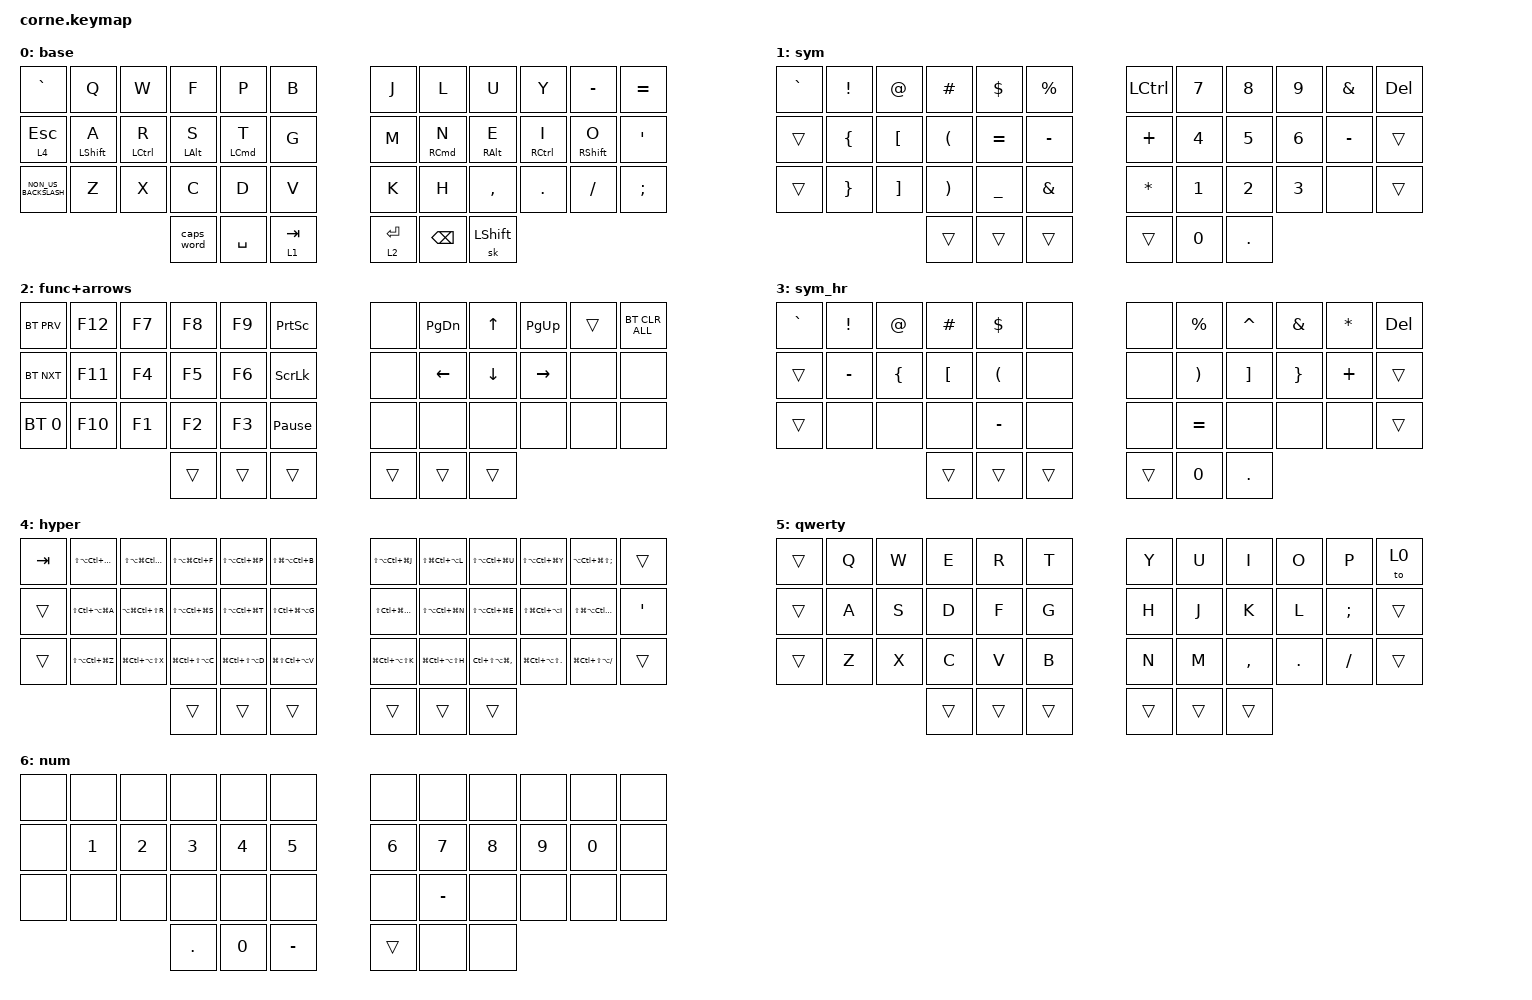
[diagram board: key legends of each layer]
/*
 * Copyright (c) 2020 The ZMK Contributors
 *
 * SPDX-License-Identifier: MIT
 */

#include <behaviors.dtsi>
#include <dt-bindings/zmk/bt.h>
#include <dt-bindings/zmk/keys.h>
#include <dt-bindings/zmk/outputs.h>

&sk {
    release-after-ms = <2000>;
    quick-release;
};

&mt {
    tapping-term-ms = <280>;
    quick-tap-ms = <175>;
    require-prior-idle-ms = <150>;
    flavor = "balanced";
    hold-while-undecided;
    hold-trigger-on-release;
};

&lt {
    tapping-term-ms = <280>;
    quick-tap-ms = <175>;
    require-prior-idle-ms = <150>;
    flavor = "balanced";
    hold-while-undecided;
    hold-trigger-on-release;
};

/ {
    combos {
        compatible = "zmk,combos";

        left_brace {
            bindings = <&kp LEFT_BRACE>;
            key-positions = <2 4>;
        };

        right_brace {
            bindings = <&kp RIGHT_BRACE>;
            key-positions = <9 7>;
        };

        left_square_bracket {
            bindings = <&kp LEFT_BRACKET>;
            key-positions = <2 3>;
        };

        right_square_bracket {
            bindings = <&kp RIGHT_BRACKET>;
            key-positions = <8 9>;
        };

        left_paren {
            bindings = <&kp LEFT_PARENTHESIS>;
            key-positions = <4 3>;
        };

        right_paren {
            bindings = <&kp RIGHT_PARENTHESIS>;
            key-positions = <7 8>;
        };

        underscore {
            bindings = <&kp UNDERSCORE>;
            key-positions = <16 28>;
        };

        equals {
            bindings = <&kp EQUAL>;
            key-positions = <19 31>;
        };

        plus {
            bindings = <&kp PLUS>;
            key-positions = <19 18>;
        };

        dash {
            bindings = <&kp MINUS>;
            key-positions = <16 17>;
        };

        copy {
            bindings = <&kp LG(C)>;
            key-positions = <27 28>;
        };

        paste {
            bindings = <&kp LG(V)>;
            key-positions = <29 28>;
        };

        less_than {
            bindings = <&kp LESS_THAN>;
            key-positions = <32 33>;
        };

        greater_than {
            bindings = <&kp GREATER_THAN>;
            key-positions = <33 34>;
        };

        exclaimation {
            bindings = <&kp EXCL>;
            key-positions = <1 13>;
        };

        at {
            bindings = <&kp AT_SIGN>;
            key-positions = <14 2>;
        };

        hash {
            bindings = <&kp HASH>;
            key-positions = <15 3>;
        };

        dollar {
            bindings = <&kp DOLLAR>;
            key-positions = <16 4>;
        };

        percent {
            bindings = <&kp PERCENT>;
            key-positions = <7 19>;
        };

        caret {
            bindings = <&kp CARET>;
            key-positions = <8 20>;
        };

        ampersand {
            bindings = <&kp AMPERSAND>;
            key-positions = <9 21>;
        };

        asterisk {
            bindings = <&kp ASTERISK>;
            key-positions = <10 22>;
        };
    };

    behaviors {
        to_reset: to_reset {
            compatible = "zmk,behavior-tap-dance";
            label = "TAPDANCE_TO_RESET";
            #binding-cells = <0>;
            bindings = <&none>, <&to_reset>;
        };

        to_boot: to_bootloader {
            compatible = "zmk,behavior-tap-dance";
            label = "TAPDANCE_TO_BOOT";
            #binding-cells = <0>;
            bindings = <&none>, <&to_boot>;
        };

        autoshft: autoshift {
            compatible = "zmk,behavior-hold-tap";
            label = "AUTOSHIFT_HOLD_TAP";
            bindings = <&shift>, <&kp>;

            #binding-cells = <2>;
            tapping-term-ms = <190>;
        };

        hrm_l: homerow_mods_left {
            compatible = "zmk,behavior-hold-tap";
            label = "HOMEROW_MODS_LEFT_HAND";
            bindings = <&kp>, <&kp>;

            #binding-cells = <2>;
            tapping-term-ms = <300>;
            hold-trigger-key-positions = <6 7 8 9 10 11 18 19 20 21 22 23 30 31 32 33 34 35 39 40 41>;
            flavor = "balanced";
            hold-trigger-on-release;
            quick-tap-ms = <200>;
            require-prior-idle-ms = <150>;
        };

        hrm_r: homerow_mods_right {
            compatible = "zmk,behavior-hold-tap";
            label = "HOMEROW_MODS_RIGHT_HAND";
            bindings = <&kp>, <&kp>;

            #binding-cells = <2>;
            tapping-term-ms = <300>;
            hold-trigger-key-positions = <0 1 2 3 4 5 12 13 14 15 16 17 24 25 26 27 28 29 36 37 38>;
            hold-trigger-on-release;
            flavor = "balanced";
            quick-tap-ms = <200>;
            require-prior-idle-ms = <150>;
        };

        capsword_caps: capsword_caps {
            compatible = "zmk,behavior-mod-morph";
            label = "CAPSWORD_CAPSLOCK";
            bindings = <&caps_word>, <&kp CAPS>;

            #binding-cells = <0>;
            mods = <(MOD_LSFT|MOD_RSFT)>;
        };

        out_tog_usb: output_toggle {
            compatible = "zmk,behavior-mod-morph";
            label = "OUTPUT-TOGGLE_OUTPUT-USB";
            bindings = <&out OUT_TOG>, <&out OUT_USB>;

            #binding-cells = <0>;
            mods = <(MOD_LSFT|MOD_RSFT)>;
        };

        btn: button_layer {
            compatible = "zmk,behavior-hold-tap";
            label = "BUTTON_LAYER";
            bindings = <&mo>, <&kp>;

            #binding-cells = <2>;
            tapping-term-ms = <200>;
            flavor = "tap-preferred";
        };

        to_base: tto_base {
            compatible = "zmk,behavior-tap-dance";
            label = "TAPDANCE_TO_BASE";
            #binding-cells = <0>;
            bindings = <&none>, <&to 0>;
        };

        to_extra: to_extra {
            compatible = "zmk,behavior-tap-dance";
            label = "TAPDANCE_TO_EXTRA";
            #binding-cells = <0>;
            bindings = <&none>, <&to 0>;
        };

        to_tap: to_tap {
            compatible = "zmk,behavior-tap-dance";
            label = "TAPDANCE_TO_TAP_LAYER";
            #binding-cells = <0>;
            bindings = <&none>, <&to 0>;
        };

        to_button: to_button {
            compatible = "zmk,behavior-tap-dance";
            label = "TAPDANCE_TO_BUTTON";
            #binding-cells = <0>;
            bindings = <&none>, <&to 0>;
        };

        to_nav: to_nav {
            compatible = "zmk,behavior-tap-dance";
            label = "TAPDANCE_TO_NAV";
            #binding-cells = <0>;
            bindings = <&none>, <&to 0>;
        };

        to_sym2: to_sym2 {
            compatible = "zmk,behavior-tap-dance";
            label = "TO_SYM2";
            #binding-cells = <0>;
            bindings = <&none>, <&to 1>;
        };

        to_media: to_media {
            compatible = "zmk,behavior-tap-dance";
            label = "TO_MEDIA";
            #binding-cells = <0>;
            bindings = <&none>, <&to 0>;
        };

        to_num: to_num {
            compatible = "zmk,behavior-tap-dance";
            label = "TO_NUM";
            #binding-cells = <0>;
            bindings = <&none>, <&to 5>;
        };

        to_sym: to_sym {
            compatible = "zmk,behavior-tap-dance";
            label = "TO_SYM";
            #binding-cells = <0>;
            bindings = <&none>, <&to 5>;
        };

        to_func: to_func {
            compatible = "zmk,behavior-tap-dance";
            label = "TO_FUNC";
            #binding-cells = <0>;
            bindings = <&none>, <&to 5>;
        };

        shift_hyper: shift_hyper {
            compatible = "zmk,behavior-mod-morph";
            label = "STICKYSHIFT_STICKYHYPER";
            bindings = <&sk LEFT_SHIFT>, <&sk LA(LS(LG(LCTRL)))>;

            #binding-cells = <0>;
            mods = <(MOD_LSFT|MOD_RSFT)>;
        };

        plus_equal: plus_equal {
            compatible = "zmk,behavior-mod-morph";
            label = "PLUS_EQUAL";
            bindings = <&kp PLUS>, <&kp EQUAL>;

            #binding-cells = <0>;
            mods = <(MOD_RSFT)>;
        };

        colon_semi: colon_semi {
            compatible = "zmk,behavior-mod-morph";
            label = "COLON_SEMI";
            bindings = <&kp COLON>, <&kp SEMI>;

            #binding-cells = <0>;
            mods = <(MOD_RSFT)>;
        };
    };

    macros {
        shift: with_lshift {
            compatible = "zmk,behavior-macro-one-param";
            #binding-cells = <1>;
            bindings =
                <&macro_press>,
                <&kp LEFT_SHIFT>,
                <&macro_tap>,
                <&macro_param_1to1 &kp MACRO_PLACEHOLDER>,
                <&macro_release>,
                <&kp LEFT_SHIFT>;

            label = "SHIFTKEY_PRESS_WITH_LEFT_SHIFT_MODIFIER";
        };
    };

    keymap {
        compatible = "zmk,keymap";

        base {
            // -----------------------------------------------------------------------------------------
            // |   `   |  Q  |  W  |  F  |  P  |  B  |   |  J  |  L   |  U  |  Y  |  ;  |  -   |
            // |cw_caps|  A  |  R  |  S  |  T  |  G  |   |  M  |  N   |  E  |  I  |  O  |  '   |
            // | skSHFT|  Z  |  X  |  C  |  D  |  V  |   |  K  |  H   |  ,  |  .  |  /  |  \   |
            //                    | ESC | SPC | TAB |   | ENT | BKSP | DEL |

            bindings = <
&kp GRAVE             &kp Q             &kp W               &kp F           &kp P               &kp B        &kp J        &kp L                &kp U            &kp Y                &kp MINUS          &kp EQUAL
&lt 4 ESCAPE          &mt LEFT_SHIFT A  &mt LEFT_CONTROL R  &mt LEFT_ALT S  &mt LEFT_COMMAND T  &kp G        &kp M        &mt RIGHT_COMMAND N  &mt RIGHT_ALT E  &mt RIGHT_CONTROL I  &mt RIGHT_SHIFT O  &kp SQT
&kp NON_US_BACKSLASH  &kp Z             &kp X               &kp C           &kp D               &kp V        &kp K        &kp H                &kp COMMA        &kp DOT              &kp SLASH          &kp SEMICOLON
                                                            &caps_word      &kp SPACE           &lt 1 TAB    &lt 2 ENTER  &kp BACKSPACE        &sk LEFT_SHIFT
            >;
        };

        sym {
            bindings = <
&kp GRAVE  &kp EXCLAMATION  &kp AT_SIGN        &kp HASH               &kp DOLLAR      &kp PERCENT      &kp LCTRL     &kp N7        &kp N8        &kp N9        &kp AMPERSAND  &kp DEL
&trans     &kp LEFT_BRACE   &kp LEFT_BRACKET   &kp LEFT_PARENTHESIS   &kp EQUAL       &kp MINUS        &kp PLUS      &kp NUMBER_4  &kp N5        &kp NUMBER_6  &kp MINUS      &trans
&trans     &kp RIGHT_BRACE  &kp RIGHT_BRACKET  &kp RIGHT_PARENTHESIS  &kp UNDERSCORE  &kp AMPERSAND    &kp ASTERISK  &kp NUMBER_1  &kp NUMBER_2  &kp NUMBER_3  &none          &trans
                                               &trans                 &trans          &trans           &trans        &kp N0        &kp PERIOD
            >;
        };

        func+arrows {
            bindings = <
&bt BT_PRV    &kp F12  &kp F7  &kp F8  &kp F9  &kp PSCRN          &none   &kp PAGE_DOWN   &kp UP_ARROW    &kp PAGE_UP  &trans  &bt BT_CLR_ALL
&bt BT_NXT    &kp F11  &kp F4  &kp F5  &kp F6  &kp SLCK           &none   &kp LEFT_ARROW  &kp DOWN_ARROW  &kp RIGHT    &none   &none
&bt BT_SEL 0  &kp F10  &kp F1  &kp F2  &kp F3  &kp PAUSE_BREAK    &none   &none           &none           &none        &none   &none
                               &trans  &trans  &trans             &trans  &trans          &trans
            >;
        };

        sym_hr {
            bindings = <
&kp GRAVE  &kp EXCLAMATION  &kp AT_SIGN     &kp HASH          &kp DOLLAR            &none     &none   &kp PERCENT            &kp CARET          &kp AMPERSAND    &kp ASTERISK  &kp DEL
&trans     &kp MINUS        &kp LEFT_BRACE  &kp LEFT_BRACKET  &kp LEFT_PARENTHESIS  &none     &none   &kp RIGHT_PARENTHESIS  &kp RIGHT_BRACKET  &kp RIGHT_BRACE  &kp PLUS      &trans
&trans     &none            &none           &none             &kp MINUS             &none     &none   &kp EQUAL              &none              &none            &none         &trans
                                            &trans            &trans                &trans    &trans  &kp N0                 &kp PERIOD
            >;
        };

        hyper {
            bindings = <
&kp TAB  &kp LS(LA(LC(LG(Q))))  &kp LS(LA(LG(LC(W))))  &kp LS(LA(LG(LC(F))))  &kp LS(LA(LC(LG(P))))  &kp LS(LG(LA(LC(B))))    &kp LS(LA(LC(LG(J))))  &kp LS(LG(LC(LA(L))))  &kp LS(LA(LC(LG(U))))      &kp LS(LA(LC(LG(Y))))    &kp LA(LC(LG(LS(SEMI))))  &trans
&trans   &kp LS(LC(LA(LG(A))))  &kp LA(LG(LC(LS(R))))  &kp LS(LA(LC(LG(S))))  &kp LS(LA(LC(LG(T))))  &kp LS(LC(LG(LA(G))))    &kp LS(LC(LG(LA(M))))  &kp LS(LA(LC(LG(N))))  &kp LS(LA(LC(LG(E))))      &kp LS(LG(LC(LA(I))))    &kp LS(LG(LA(LC(O))))     &kp APOS
&trans   &kp LS(LA(LC(LG(Z))))  &kp LG(LC(LA(LS(X))))  &kp LG(LC(LS(LA(C))))  &kp LG(LC(LS(LA(D))))  &kp LG(LS(LC(LA(V))))    &kp LG(LC(LA(LS(K))))  &kp LG(LC(LA(LS(H))))  &kp LC(LS(LA(LG(COMMA))))  &kp LG(LC(LA(LS(DOT))))  &kp LG(LC(LS(LA(FSLH))))  &trans
                                                       &trans                 &trans                 &trans                   &trans                 &trans                 &trans
            >;
        };

        qwerty {
            bindings = <
&trans  &kp Q  &kp W  &kp E   &kp R   &kp T     &kp Y   &kp U   &kp I      &kp O    &kp P     &to 0
&trans  &kp A  &kp S  &kp D   &kp F   &kp G     &kp H   &kp J   &kp K      &kp L    &kp SEMI  &trans
&trans  &kp Z  &kp X  &kp C   &kp V   &kp B     &kp N   &kp M   &kp COMMA  &kp DOT  &kp FSLH  &trans
                      &trans  &trans  &trans    &trans  &trans  &trans
            >;
        };

        num {
            bindings = <
&none  &none         &none         &none         &none         &none        &none         &none      &none   &none   &none   &none
&none  &kp NUMBER_1  &kp NUMBER_2  &kp NUMBER_3  &kp NUMBER_4  &kp N5       &kp NUMBER_6  &kp N7     &kp N8  &kp N9  &kp N0  &none
&none  &none         &none         &none         &none         &none        &none         &kp MINUS  &none   &none   &none   &none
                                   &kp PERIOD    &kp N0        &kp MINUS    &trans        &none      &none
            >;
        };
    };

    conditional_layers {
        compatible = "zmk,conditional-layers";

        hyper {
            if-layers = <1 2>;
            then-layer = <4>;
        };
    };
};
